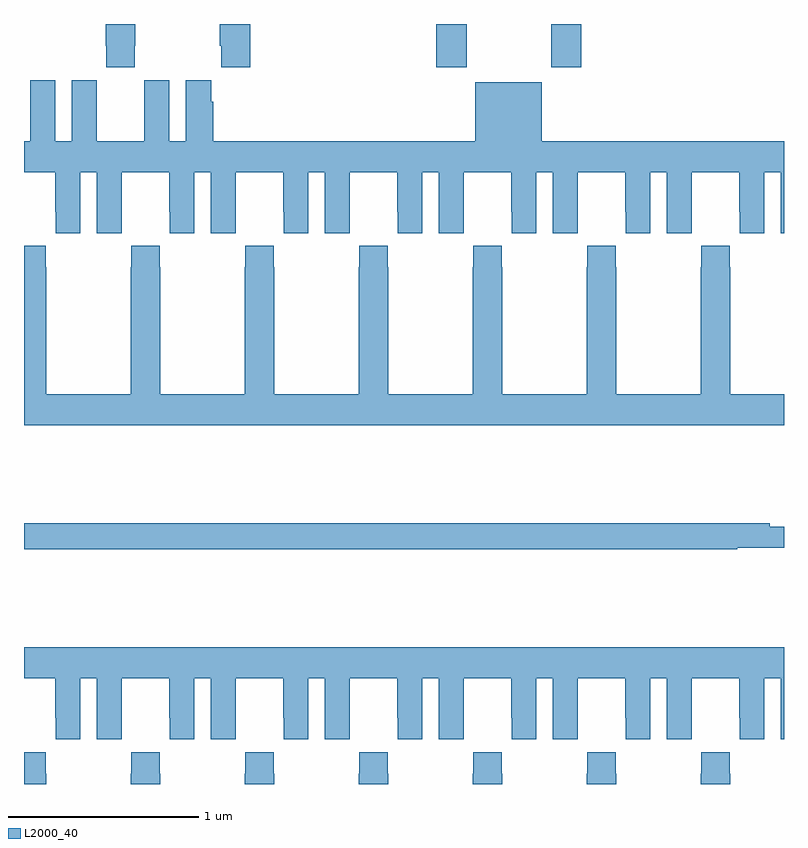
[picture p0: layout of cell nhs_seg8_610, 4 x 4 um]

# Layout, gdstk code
import gdstk
lib = gdstk.Library(unit=1e-6, precision=1e-09)
def R(c, l, rs):  # rectangles x0, y0, x1, y1
    for r in rs: c.add(gdstk.rectangle(r[:2], r[2:], *l))
def P(c, l, *ps):  # polygons
    for p in ps: c.add(gdstk.Polygon(p, *l))
L2000_40 = (2000, 40)

nhs_seg8_610 = lib.new_cell('nhs_seg8_610')
R(nhs_seg8_610, L2000_40, [(151.169,1163.673,151.329,1163.9), (151.774,1163.673,151.934,1163.9)])
P(nhs_seg8_610, L2000_40, [(150.191,1163.9),(150.031,1163.9),(150.031,1163.785),(150.037,1163.785),(150.037,1163.673),(150.191,1163.673)],
  [(149.583,1163.785),(149.586,1163.785),(149.586,1163.9),(149.431,1163.9),(149.431,1163.785),(149.433,1163.785),(149.433,1163.673),(149.583,1163.673)],
  [(151.376,1163.593),(151.376,1163.284),(149.996,1163.284),(149.996,1163.492),(149.986,1163.492),(149.986,1163.605),(149.852,1163.605),(149.852,1163.284),(149.764,1163.284),(149.764,1163.605),(149.634,1163.605),(149.634,1163.492),(149.633,1163.492),(149.633,1163.284),(149.383,1163.284),(149.383,1163.492),(149.382,1163.492),(149.382,1163.605),(149.252,1163.605),(149.252,1163.284),(149.164,1163.284),(149.164,1163.605),(149.034,1163.605),(149.034,1163.492),(149.033,1163.492),(149.033,1163.284),(149,1163.284),(149,1163.12),(149.165,1163.12),(149.165,1162.912),(149.166,1162.912),(149.166,1162.8),(149.296,1162.8),(149.296,1163.12),(149.384,1163.12),(149.384,1162.8),(149.514,1162.8),(149.514,1162.912),(149.515,1162.912),(149.515,1163.12),(149.765,1163.12),(149.765,1162.912),(149.766,1162.912),(149.766,1162.8),(149.896,1162.8),(149.896,1163.12),(149.984,1163.12),(149.984,1162.8),(150.114,1162.8),(150.114,1162.912),(150.115,1162.912),(150.115,1163.12),(150.365,1163.12),(150.365,1162.912),(150.366,1162.912),(150.366,1162.8),(150.496,1162.8),(150.496,1163.12),(150.584,1163.12),(150.584,1162.8),(150.714,1162.8),(150.714,1162.912),(150.715,1162.912),(150.715,1163.12),(150.965,1163.12),(150.965,1162.912),(150.966,1162.912),(150.966,1162.8),(151.096,1162.8),(151.096,1163.12),(151.184,1163.12),(151.184,1162.8),(151.314,1162.8),(151.314,1162.912),(151.315,1162.912),(151.315,1163.12),(151.565,1163.12),(151.565,1162.912),(151.566,1162.912),(151.566,1162.8),(151.696,1162.8),(151.696,1163.12),(151.784,1163.12),(151.784,1162.8),(151.914,1162.8),(151.914,1162.912),(151.915,1162.912),(151.915,1163.12),(152.165,1163.12),(152.165,1162.912),(152.166,1162.912),(152.166,1162.8),(152.296,1162.8),(152.296,1163.12),(152.384,1163.12),(152.384,1162.8),(152.514,1162.8),(152.514,1162.912),(152.515,1162.912),(152.515,1163.12),(152.765,1163.12),(152.765,1162.912),(152.766,1162.912),(152.766,1162.8),(152.896,1162.8),(152.896,1163.12),(152.984,1163.12),(152.984,1162.8),(153,1162.8),(153,1163.284),(151.726,1163.284),(151.726,1163.593)],
  [(153,1161.952),(152.718,1161.952),(152.718,1162.619),(152.715,1162.619),(152.715,1162.732),(152.565,1162.732),(152.565,1162.619),(152.563,1162.619),(152.563,1161.952),(152.118,1161.952),(152.118,1162.619),(152.115,1162.619),(152.115,1162.732),(151.965,1162.732),(151.965,1162.619),(151.963,1162.619),(151.963,1161.952),(151.518,1161.952),(151.518,1162.619),(151.515,1162.619),(151.515,1162.732),(151.365,1162.732),(151.365,1162.619),(151.363,1162.619),(151.363,1161.952),(150.918,1161.952),(150.918,1162.619),(150.915,1162.619),(150.915,1162.732),(150.765,1162.732),(150.765,1162.619),(150.763,1162.619),(150.763,1161.952),(150.318,1161.952),(150.318,1162.619),(150.315,1162.619),(150.315,1162.732),(150.165,1162.732),(150.165,1162.619),(150.163,1162.619),(150.163,1161.952),(149.718,1161.952),(149.718,1162.619),(149.715,1162.619),(149.715,1162.732),(149.565,1162.732),(149.565,1162.619),(149.563,1162.619),(149.563,1161.952),(149.118,1161.952),(149.118,1162.619),(149.115,1162.619),(149.115,1162.732),(149,1162.732),(149,1161.788),(153,1161.788)],
  [(152.755,1161.144),(153,1161.144),(153,1161.253),(152.924,1161.253),(152.924,1161.272),(149,1161.272),(149,1161.136),(152.755,1161.136)],
  [(149,1160.456),(149.165,1160.456),(149.165,1160.248),(149.166,1160.248),(149.166,1160.136),(149.296,1160.136),(149.296,1160.456),(149.384,1160.456),(149.384,1160.136),(149.514,1160.136),(149.514,1160.248),(149.515,1160.248),(149.515,1160.456),(149.765,1160.456),(149.765,1160.248),(149.766,1160.248),(149.766,1160.136),(149.896,1160.136),(149.896,1160.456),(149.984,1160.456),(149.984,1160.136),(150.114,1160.136),(150.114,1160.248),(150.115,1160.248),(150.115,1160.456),(150.365,1160.456),(150.365,1160.248),(150.366,1160.248),(150.366,1160.136),(150.496,1160.136),(150.496,1160.456),(150.584,1160.456),(150.584,1160.136),(150.714,1160.136),(150.714,1160.248),(150.715,1160.248),(150.715,1160.456),(150.965,1160.456),(150.965,1160.248),(150.966,1160.248),(150.966,1160.136),(151.096,1160.136),(151.096,1160.456),(151.184,1160.456),(151.184,1160.136),(151.314,1160.136),(151.314,1160.248),(151.315,1160.248),(151.315,1160.456),(151.565,1160.456),(151.565,1160.248),(151.566,1160.248),(151.566,1160.136),(151.696,1160.136),(151.696,1160.456),(151.784,1160.456),(151.784,1160.136),(151.914,1160.136),(151.914,1160.248),(151.915,1160.248),(151.915,1160.456),(152.165,1160.456),(152.165,1160.248),(152.166,1160.248),(152.166,1160.136),(152.296,1160.136),(152.296,1160.456),(152.384,1160.456),(152.384,1160.136),(152.514,1160.136),(152.514,1160.248),(152.515,1160.248),(152.515,1160.456),(152.765,1160.456),(152.765,1160.248),(152.766,1160.248),(152.766,1160.136),(152.896,1160.136),(152.896,1160.456),(152.984,1160.456),(152.984,1160.136),(153,1160.136),(153,1160.62),(149,1160.62)],
  [(152.718,1159.955),(152.715,1159.955),(152.715,1160.068),(152.565,1160.068),(152.565,1159.955),(152.563,1159.955),(152.563,1159.9),(152.718,1159.9)],
  [(152.118,1159.955),(152.115,1159.955),(152.115,1160.068),(151.965,1160.068),(151.965,1159.955),(151.963,1159.955),(151.963,1159.9),(152.118,1159.9)],
  [(151.518,1159.955),(151.515,1159.955),(151.515,1160.068),(151.365,1160.068),(151.365,1159.955),(151.363,1159.955),(151.363,1159.9),(151.518,1159.9)],
  [(150.918,1159.955),(150.915,1159.955),(150.915,1160.068),(150.765,1160.068),(150.765,1159.955),(150.763,1159.955),(150.763,1159.9),(150.918,1159.9)],
  [(150.318,1159.955),(150.315,1159.955),(150.315,1160.068),(150.165,1160.068),(150.165,1159.955),(150.163,1159.955),(150.163,1159.9),(150.318,1159.9)],
  [(149.718,1159.955),(149.715,1159.955),(149.715,1160.068),(149.565,1160.068),(149.565,1159.955),(149.563,1159.955),(149.563,1159.9),(149.718,1159.9)],
  [(149.118,1159.955),(149.115,1159.955),(149.115,1160.068),(149,1160.068),(149,1159.9),(149.118,1159.9)])

lib.write_gds('nhs_seg8_610.gds')
